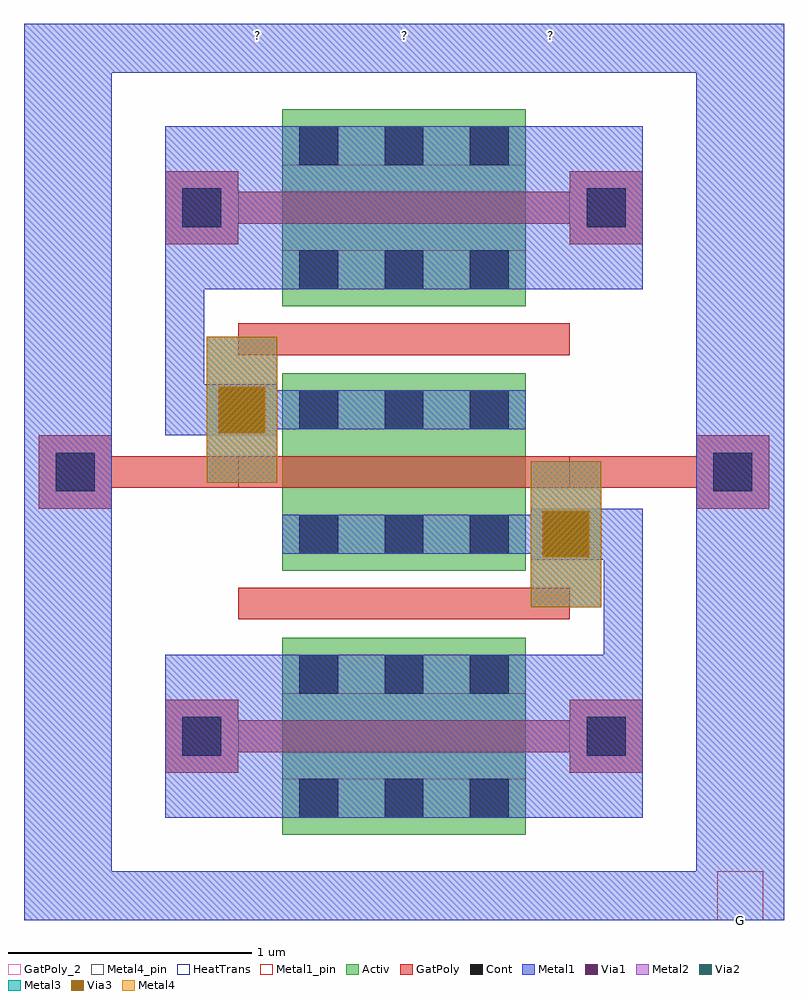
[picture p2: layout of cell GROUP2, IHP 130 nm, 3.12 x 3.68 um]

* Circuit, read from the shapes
.subckt GROUP2 G
XM1 nmos_priv3_1/S nmos_priv3_1/S nmos_priv3_1/S VSUBS sg13_lv_nmos w=1u l=0.13u
XM2 nmos_priv3_1/D G nmos_priv3_1/S VSUBS sg13_lv_nmos w=1u l=0.13u
XM3 nmos_priv3_1/D nmos_priv3_1/D nmos_priv3_1/D VSUBS sg13_lv_nmos w=1u l=0.13u
.ends

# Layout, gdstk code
from math import pi, radians
import gdstk
lib = gdstk.Library(unit=1e-6, precision=1e-09)
def R(c, l, rs):  # rectangles x0, y0, x1, y1
    for r in rs: c.add(gdstk.rectangle(r[:2], r[2:], *l))
def A(c, l, x, y, w, h, nx, ny, dx, dy):  # array of equal rectangles
    R(c, l, [(x+i*dx, y+j*dy, x+i*dx+w, y+j*dy+h) for i in range(nx) for j in range(ny)])
Activ = (1, 0)
GatPoly = (5, 0)
GatPoly_2 = (5, 2)
Cont = (6, 0)
Metal1 = (8, 0)
Metal1_pin = (8, 2)
Metal2 = (10, 0)
Via1 = (19, 0)
Via2 = (29, 0)
Metal3 = (30, 0)
Via3 = (49, 0)
Metal4 = (50, 0)
Metal4_pin = (50, 2)
HeatTrans = (51, 0)

nmos_priv2 = lib.new_cell('nmos_priv2')
R(nmos_priv2, Activ, [(0,0,0.3,0.3), (0,0,0.81,1), (0.51,0,0.81,0.3)])
R(nmos_priv2, GatPoly, [(0.255,-0.48,0.555,-0.18), (0.34,-0.18,0.47,1.18), (0.255,1.18,0.555,1.48)])
R(nmos_priv2, GatPoly_2, [(0.34,-0.18,0.47,1.18)])
A(nmos_priv2, Cont, 0.07, 0.07, 0.16, 0.16, 1, 3, 0, 0.35)
A(nmos_priv2, Cont, 0.58, 0.07, 0.16, 0.16, 1, 3, 0, 0.35)
R(nmos_priv2, Cont, [(0.325,-0.41,0.485,-0.25), (0.325,1.25,0.485,1.41)])
R(nmos_priv2, Metal1, [(0.07,-0.48,0.74,1.48), (0.07,0,0.23,1), (0.58,0,0.74,1)])
R(nmos_priv2, Metal1_pin, [(0.07,0,0.23,1), (0.58,0,0.74,1)])
R(nmos_priv2, HeatTrans, [(0.34,-0.18,0.47,1.18)])
nmos_priv2.add(gdstk.Label('nmos', (0.405,0.5), layer=63, texttype=0))
nmos_priv2.add(gdstk.Label('nmos', (0.405,0.5), layer=51, texttype=0))

nmos_priv3 = lib.new_cell('nmos_priv3')
R(nmos_priv3, Activ, [(0,0,0.3,0.3), (0,0,0.81,1), (0.51,0,0.81,0.3)])
R(nmos_priv3, GatPoly, [(0.255,-1,0.555,-0.7), (0.34,-0.7,0.47,-0.18), (0.34,-0.18,0.47,1.18), (0.34,1.18,0.47,1.7), (0.255,1.7,0.555,2)])
R(nmos_priv3, GatPoly_2, [(0.34,-0.18,0.47,1.18)])
A(nmos_priv3, Cont, 0.07, 0.07, 0.16, 0.16, 1, 3, 0, 0.35)
A(nmos_priv3, Cont, 0.58, 0.07, 0.16, 0.16, 1, 3, 0, 0.35)
R(nmos_priv3, Cont, [(0.325,-0.93,0.485,-0.77), (0.325,1.77,0.485,1.93)])
R(nmos_priv3, Metal1, [(0.27,-1.06,0.54,-0.7), (0.045,-0.31,0.255,-0.02), (0.07,-0.035,0.23,0.015), (0.07,0,0.23,1), (0.58,0,0.74,1), (0.58,0.985,0.74,1.035), (0.555,1.02,0.765,1.31), (0.27,1.7,0.54,2.06)])
R(nmos_priv3, Metal1_pin, [(0.07,0,0.23,1), (0.58,0,0.74,1)])
R(nmos_priv3, Metal2, [(-0.15,-0.31,0.45,-0.02), (0.05,-0.31,0.25,-0.02), (0.36,1.02,0.96,1.31), (0.56,1.02,0.76,1.31)])
R(nmos_priv3, Via1, [(0.055,-0.26,0.245,-0.07), (0.565,1.07,0.755,1.26)])
R(nmos_priv3, Via2, [(0.055,-0.26,0.245,-0.07), (0.565,1.07,0.755,1.26)])
R(nmos_priv3, Metal3, [(-0.15,-0.31,0.45,-0.02), (0.05,-0.31,0.25,-0.02), (0.36,1.02,0.96,1.31), (0.56,1.02,0.76,1.31)])
R(nmos_priv3, Via3, [(0.055,-0.26,0.245,-0.07), (0.565,1.07,0.755,1.26)])
R(nmos_priv3, Metal4, [(-0.15,-0.31,0.45,-0.02), (0.05,-0.31,0.25,-0.02), (0.36,1.02,0.96,1.31), (0.56,1.02,0.76,1.31)])
R(nmos_priv3, Metal4_pin, [(0.055,-0.26,0.245,-0.07), (0.565,1.07,0.755,1.26)])
R(nmos_priv3, HeatTrans, [(0.34,-0.18,0.47,1.18)])
nmos_priv3.add(gdstk.Label('nmos', (0.405,0.5), layer=63, texttype=0))
nmos_priv3.add(gdstk.Label('nmos', (0.405,0.5), layer=51, texttype=0))
nmos_priv3.add(gdstk.Label('S', (0.66,1.165), layer=50, texttype=0))
nmos_priv3.add(gdstk.Label('D', (0.15,-0.165), layer=50, texttype=0))

nmos_priv1 = lib.new_cell('nmos_priv1')
R(nmos_priv1, Activ, [(0,0,0.3,0.3), (0,0,0.81,1), (0.51,0,0.81,0.3)])
R(nmos_priv1, GatPoly, [(0.255,-0.48,0.555,-0.18), (0.34,-0.18,0.47,1.18), (0.255,1.18,0.555,1.48)])
R(nmos_priv1, GatPoly_2, [(0.34,-0.18,0.47,1.18)])
A(nmos_priv1, Cont, 0.07, 0.07, 0.16, 0.16, 1, 3, 0, 0.35)
A(nmos_priv1, Cont, 0.58, 0.07, 0.16, 0.16, 1, 3, 0, 0.35)
R(nmos_priv1, Cont, [(0.325,-0.41,0.485,-0.25), (0.325,1.25,0.485,1.41)])
R(nmos_priv1, Metal1, [(0.07,-0.48,0.74,1.48), (0.07,0,0.23,1), (0.58,0,0.74,1)])
R(nmos_priv1, Metal1_pin, [(0.07,0,0.23,1), (0.58,0,0.74,1)])
R(nmos_priv1, HeatTrans, [(0.34,-0.18,0.47,1.18)])
nmos_priv1.add(gdstk.Label('nmos', (0.405,0.5), layer=63, texttype=0))
nmos_priv1.add(gdstk.Label('nmos', (0.405,0.5), layer=51, texttype=0))

group2 = lib.new_cell('GROUP2')
R(group2, GatPoly, [(4.885,3.985,6.245,4.115), (4.885,5.07,6.245,5.2)])
R(group2, Metal1, [(4.005,2.75,4.365,6.43), (4.005,2.75,7.125,2.95), (6.765,2.75,7.125,6.43), (6.385,3.84,6.545,4.44), (6.085,4.23,6.385,4.44), (4.585,4.74,4.745,5.34), (4.745,4.74,5.045,4.95), (4.005,6.23,7.125,6.43)])
R(group2, Metal1_pin, [(6.85,2.75,7.04,2.95)])
group2.add(gdstk.Reference(nmos_priv2, (5.065,3.91), rotation=3*pi/2))
group2.add(gdstk.Reference(nmos_priv3, (5.065,4.995), rotation=3*pi/2))
group2.add(gdstk.Reference(nmos_priv1, (5.065,6.08), rotation=3*pi/2))
group2.add(gdstk.Label('G', (6.945,2.75), layer=8, texttype=0))
group2.add(gdstk.Label('?', (4.965,6.38), layer=1000, texttype=0))
group2.add(gdstk.Label('?', (5.565,6.38), layer=1000, texttype=0))
group2.add(gdstk.Label('?', (6.165,6.38), layer=1000, texttype=0))

lib.write_gds('GROUP2.gds')
